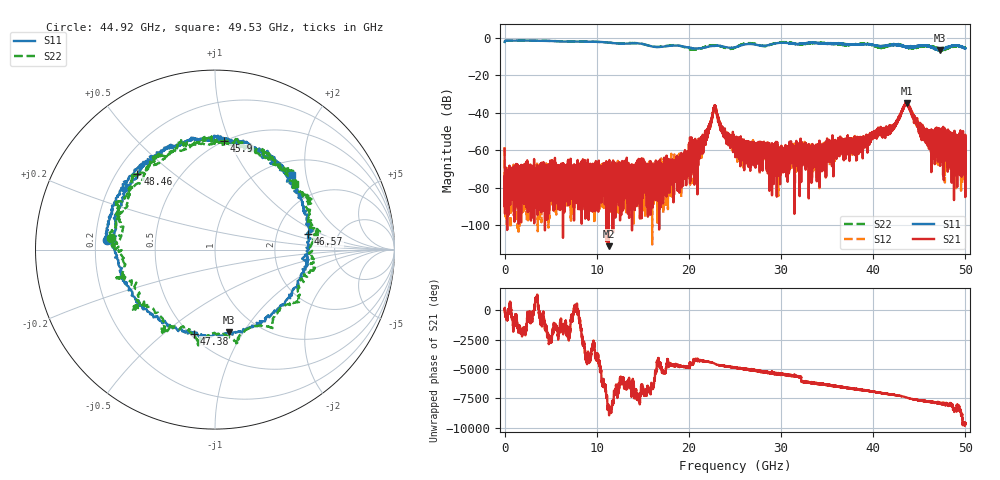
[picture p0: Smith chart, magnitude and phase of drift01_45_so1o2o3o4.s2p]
!Created with skrf (http://scikit-rf.org).
# Hz S RI R 50.0
!freq ReS11 ImS11 ReS21 ImS21 ReS12 ImS12 ReS22 ImS22
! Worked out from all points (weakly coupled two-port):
!   10001 points, 300 kHz to 50 GHz, reference 50 ohm
!   highest |S21| = -34.73 dB at 43.63 GHz (marker M1); lowest = -111.1 dB at 11.28 GHz (marker M2)
!   lowest |S11| = -6.6 dB at 47.21 GHz (marker M3), VSWR 2.75, Z = 36.9 - j43.3 ohm
!   |S11| at or under -10 dB: nowhere
!   |S22| runs from -6.7 to -1.4 dB; largest |S21 - S12| = 0.004
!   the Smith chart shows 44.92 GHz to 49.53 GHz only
!   S11 on the Smith chart (normalised r, x): 44.92 GHz: 0.25, +0.04; 45.9 GHz: 0.50, +0.95; 46.57 GHz: 3.01, +0.73; 47.38 GHz: 0.52, -0.64; 48.46 GHz: 0.29, +0.38; 49.53 GHz: 1.28, +1.67
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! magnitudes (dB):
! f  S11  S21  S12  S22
! 300 kHz  -2.1  -59.1  -58.2  -2.1
! 255.3 MHz  -1.4  -77.9  -79.3  -1.4
! 440.3 MHz  -1.4  -78.4  -79.8  -1.4
! 8.335 GHz  -2.0  -65.9  -74.8  -1.8
! 11.28 GHz  -2.5  -111.1  -72.8  -2.5
! 16.67 GHz  -4.9  -87.2  -70.7  -4.8
! 20.99 GHz  -5.7  -57.9  -60.4  -6.1
! 22.8 GHz  -4.3  -36.1  -36.3  -4.0
! 23.83 GHz  -4.7  -51.3  -49.6  -5.1
! 25 GHz  -5.0  -53.8  -58.8  -5.1
! 29.7 GHz  -2.7  -61.4  -60.6  -2.5
! 33.34 GHz  -2.6  -59.9  -59.0  -2.7
! 41.67 GHz  -3.9  -49.0  -48.8  -4.3
! 43.63 GHz  -4.7  -34.7  -34.9  -4.8
! 44.92 GHz  -4.3  -48.3  -48.8  -4.7
! 45.9 GHz  -4.3  -50.1  -53.3  -4.1
! 46.57 GHz  -5.6  -54.8  -58.7  -4.7
! 47.21 GHz  -6.6  -56.6  -55.0  -5.8
! 47.38 GHz  -6.3  -60.5  -53.5  -5.8
! 48.46 GHz  -4.4  -61.7  -59.4  -4.8
! 49.53 GHz  -4.5  -58.1  -81.5  -4.7
! 50 GHz  -5.5  -57.8  -54.2  -5.5
